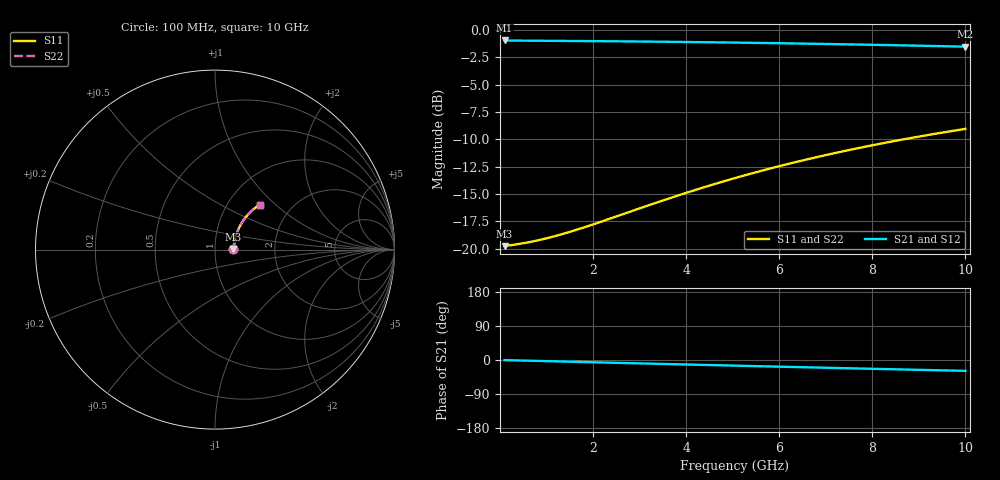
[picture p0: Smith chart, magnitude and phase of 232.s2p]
# Hz S RI R 50.00
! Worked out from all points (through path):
!   100 points, 100 MHz to 10 GHz, reference 50 ohm
!   highest |S21| = -0.94 dB at 100 MHz (marker M1); lowest = -1.5 dB at 10 GHz (marker M2)
!   group delay of S21, straight-line fit = 7.97 ps
!   lowest |S11| = -19.8 dB at 100 MHz (marker M3), VSWR 1.23, Z = 61.4 + j0.394 ohm
!   |S11| at or under -10 dB: start of sweep to 8.66 GHz
!   |S22| runs from -19.8 to -9.0 dB; largest |S21 - S12| = 0
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1e8  0.1026 0.00317  0.8974 -0.00469  0.8974 -0.00469  0.1026 0.00317
5e8  0.1047 0.0158  0.8952 -0.0233  0.8952 -0.0233  0.1047 0.0158
7e8  0.1056 0.022  0.8943 -0.0326  0.8943 -0.0326  0.1056 0.022
9e8  0.1066 0.0283  0.8933 -0.0419  0.8933 -0.0419  0.1066 0.0283
1.1e9  0.1076 0.0345  0.8923 -0.0512  0.8923 -0.0512  0.1076 0.0345
1.3e9  0.1086 0.0407  0.8911 -0.0604  0.8911 -0.0604  0.1086 0.0407
1.5e9  0.1098 0.0469  0.8899 -0.0696  0.8899 -0.0696  0.1098 0.0469
1.8e9  0.1118 0.0561  0.8878 -0.0833  0.8878 -0.0833  0.1118 0.0561
2.6e9  0.1182 0.0802  0.8809 -0.1196  0.8809 -0.1196  0.1182 0.0802
3.4e9  0.1265 0.1035  0.8721 -0.1551  0.8721 -0.1551  0.1265 0.1035
3.9e9  0.1325 0.1177  0.8656 -0.1768  0.8656 -0.1768  0.1325 0.1177
4.3e9  0.1378 0.1288  0.8599 -0.194  0.8599 -0.194  0.1378 0.1288
4.7e9  0.1435 0.1395  0.8537 -0.2108  0.8537 -0.2108  0.1435 0.1395
5.1e9  0.1496 0.15  0.8472 -0.2274  0.8472 -0.2274  0.1496 0.15
5.5e9  0.1561 0.1602  0.8401 -0.2437  0.8401 -0.2437  0.1561 0.1602
5.9e9  0.163 0.1701  0.8327 -0.2597  0.8327 -0.2597  0.163 0.1701
6.3e9  0.1702 0.1796  0.8249 -0.2753  0.8249 -0.2753  0.1702 0.1796
6.7e9  0.1778 0.1888  0.8167 -0.2906  0.8167 -0.2906  0.1778 0.1888
7.5e9  0.1937 0.206  0.7994 -0.3201  0.7994 -0.3201  0.1937 0.206
8.4e9  0.213 0.2236  0.7783 -0.3515  0.7783 -0.3515  0.213 0.2236
9.2e9  0.231 0.2376  0.7585 -0.3778  0.7585 -0.3778  0.231 0.2376
1e10  0.2498 0.25  0.7378 -0.4025  0.7378 -0.4025  0.2498 0.25
